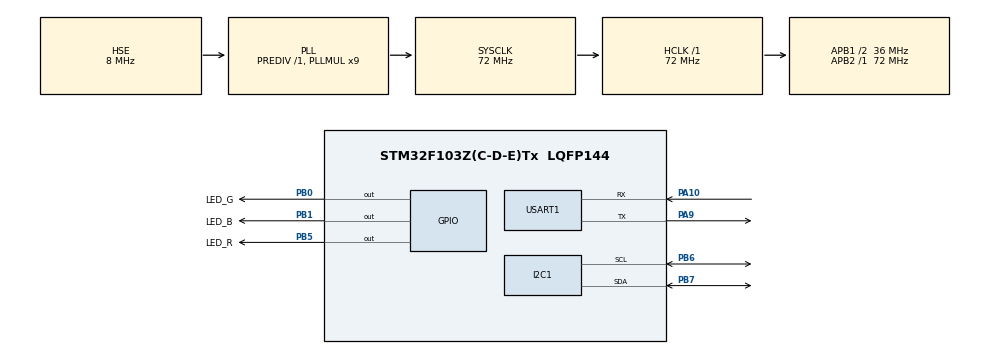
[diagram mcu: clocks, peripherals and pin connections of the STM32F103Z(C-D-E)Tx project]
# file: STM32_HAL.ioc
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I2C1.I2C_Mode=I2C_Fast
Mcu.Family=STM32F1
Mcu.Name=STM32F103Z(C-D-E)Tx
Mcu.Package=LQFP144
NVIC.PriorityGroup=NVIC_PRIORITYGROUP_4
NVIC.USART1_IRQn=true\:0\:0\:false\:false\:true\:true\:true\:true
OSC_IN.Mode=HSE-External-Oscillator
OSC_IN.Signal=RCC_OSC_IN
OSC_OUT.Mode=HSE-External-Oscillator
OSC_OUT.Signal=RCC_OSC_OUT
PA10.Mode=Asynchronous
PA10.Signal=USART1_RX
PA13.Mode=JTAG_5_pins
PA13.Signal=SYS_JTMS-SWDIO
PA14.Mode=JTAG_5_pins
PA14.Signal=SYS_JTCK-SWCLK
PA15.Mode=JTAG_5_pins
PA15.Signal=SYS_JTDI
PA9.Mode=Asynchronous
PA9.Signal=USART1_TX
PB0.GPIO_Label=LED_G
PB0.GPIO_Speed=GPIO_SPEED_FREQ_HIGH
PB0.PinState=GPIO_PIN_SET
PB0.Signal=GPIO_Output
PB1.GPIO_Label=LED_B
PB1.GPIO_Speed=GPIO_SPEED_FREQ_HIGH
PB1.PinState=GPIO_PIN_SET
PB1.Signal=GPIO_Output
PB3.Mode=JTAG_5_pins
PB3.Signal=SYS_JTDO-TRACESWO
PB4.Mode=JTAG_5_pins
PB4.Signal=SYS_NJTRST
PB5.GPIO_Label=LED_R
PB5.GPIO_Speed=GPIO_SPEED_FREQ_HIGH
PB5.PinState=GPIO_PIN_SET
PB5.Signal=GPIO_Output
PB6.Mode=I2C
PB6.Signal=I2C1_SCL
PB7.Mode=I2C
PB7.Signal=I2C1_SDA
PC14-OSC32_IN.Mode=LSE-External-Oscillator
PC14-OSC32_IN.Signal=RCC_OSC32_IN
PC15-OSC32_OUT.Mode=LSE-External-Oscillator
PC15-OSC32_OUT.Signal=RCC_OSC32_OUT
ProjectManager.HeapSize=0x200
ProjectManager.StackSize=0x400
ProjectManager.TargetToolchain=CMake
RCC.AHBFreq_Value=72000000
RCC.APB1CLKDivider=RCC_HCLK_DIV2
RCC.APB1Freq_Value=36000000
RCC.APB1TimFreq_Value=72000000
RCC.APB2Freq_Value=72000000
RCC.APB2TimFreq_Value=72000000
RCC.HCLKFreq_Value=72000000
RCC.PLLMUL=RCC_PLL_MUL9
RCC.PLLSourceVirtual=RCC_PLLSOURCE_HSE
RCC.SYSCLKFreq_VALUE=72000000
RCC.SYSCLKSource=RCC_SYSCLKSOURCE_PLLCLK
RCC.USBFreq_Value=72000000
TIM6.Prescaler=72-1
USART1.VirtualMode=VM_ASYNC
VP_TIM6_VS_ClockSourceINT.Mode=Enable_Timer
board=custom

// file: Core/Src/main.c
/* USER CODE BEGIN Header */
/**
  ******************************************************************************
  * @file           : main.c
  * @brief          : Main program body
  ******************************************************************************
  * @attention
  *
  * Copyright (c) 2024 STMicroelectronics.
  * All rights reserved.
  *
  * This software is licensed under terms that can be found in the LICENSE file
  * in the root directory of this software component.
  * If no LICENSE file comes with this software, it is provided AS-IS.
  *
  ******************************************************************************
  */
/* USER CODE END Header */
#include "main.h"
#include "i2c.h"
#include "tim.h"
#include "usart.h"
#include "gpio.h"

/* USER CODE BEGIN Includes */

#include <stdio.h>
#include "oled.h"
#include "dht11.h"

/* USER CODE END Includes */

/* USER CODE BEGIN PM */

// R: PB5, G: PB0, B: PB1
#define LED_R 0xFFFFFFDF
#define LED_G 0xFFFFFFFE
#define LED_B 0xFFFFFFFD

/* USER CODE END PM */

/* USER CODE BEGIN PV */
extern UART_HandleTypeDef huart1;
uint32_t ledColorArray[] = {LED_R, LED_G, LED_B};

/* USER CODE END PV */

void SystemClock_Config(void);

int main(void)
{

  /* MCU Configuration--------------------------------------------------------*/

  /* Reset of all peripherals, Initializes the Flash interface and the Systick. */
  HAL_Init();

  /* Configure the system clock */
  SystemClock_Config();

  /* Initialize all configured peripherals */
  MX_GPIO_Init();
  MX_I2C1_Init();
  MX_USART1_UART_Init();
  MX_TIM6_Init();
  /* USER CODE BEGIN 2 */

  // start TIM6 for i2c delay
  HAL_TIM_Base_Start(&htim6);

  // 0x78: OLED i2c address
  OLED_ConfigDisplay(&hi2c1, 0x78);

  if (OLED_InitDisplay() < 0) {
    printf("init OLED screen failed!\r\n");
  } else {
    printf("OLED ok!\r\n");
  }
  /* USER CODE END 2 */

  /* Infinite loop */
  /* USER CODE BEGIN WHILE */
  __HAL_RCC_GPIOB_CLK_ENABLE();
  // OLED_Test();
  OLED_NewFrame();
  OLED_ShowString(0, 0, "DHT11:");
  OLED_ShowFrame();

  DHT11_Init();

  double temperature = 0, humidity = 0;
  if (DHT11_Measure(&temperature, &humidity) < 0) {
    printf("dht11 measure FAILED!\r\n");
  } else {
    printf("temp: [%.2f], humi: [%.2f]\r\n", temperature, humidity);
  }

  while (1)
  {
    /* USER CODE END WHILE */

    /* USER CODE BEGIN 3 */
    GPIOB->ODR = LED_R;
    HAL_Delay(500);
    GPIOB->ODR = LED_G;
    HAL_Delay(500);
    GPIOB->ODR = LED_B;
  }
  /* USER CODE END 3 */
}

void SystemClock_Config(void)
{
  RCC_OscInitTypeDef RCC_OscInitStruct = {0};
  RCC_ClkInitTypeDef RCC_ClkInitStruct = {0};

  /** Initializes the RCC Oscillators according to the specified parameters
  * in the RCC_OscInitTypeDef structure.
  */
  RCC_OscInitStruct.OscillatorType = RCC_OSCILLATORTYPE_HSE;
  RCC_OscInitStruct.HSEState = RCC_HSE_ON;
  RCC_OscInitStruct.HSEPredivValue = RCC_HSE_PREDIV_DIV1;
  RCC_OscInitStruct.HSIState = RCC_HSI_ON;
  RCC_OscInitStruct.PLL.PLLState = RCC_PLL_ON;
  RCC_OscInitStruct.PLL.PLLSource = RCC_PLLSOURCE_HSE;
  RCC_OscInitStruct.PLL.PLLMUL = RCC_PLL_MUL9;
  if (HAL_RCC_OscConfig(&RCC_OscInitStruct) != HAL_OK)
  {
    Error_Handler();
  }

  /** Initializes the CPU, AHB and APB buses clocks
  */
  RCC_ClkInitStruct.ClockType = RCC_CLOCKTYPE_HCLK|RCC_CLOCKTYPE_SYSCLK
                              |RCC_CLOCKTYPE_PCLK1|RCC_CLOCKTYPE_PCLK2;
  RCC_ClkInitStruct.SYSCLKSource = RCC_SYSCLKSOURCE_PLLCLK;
  RCC_ClkInitStruct.AHBCLKDivider = RCC_SYSCLK_DIV1;
  RCC_ClkInitStruct.APB1CLKDivider = RCC_HCLK_DIV2;
  RCC_ClkInitStruct.APB2CLKDivider = RCC_HCLK_DIV1;

  if (HAL_RCC_ClockConfig(&RCC_ClkInitStruct, FLASH_LATENCY_2) != HAL_OK)
  {
    Error_Handler();
  }
}

/* USER CODE BEGIN 4 */
int __io_putchar(int ch)
{
    HAL_UART_Transmit(&huart1, (uint8_t *)&ch, 1, HAL_MAX_DELAY);
    return 0;
}
/* USER CODE END 4 */

void Error_Handler(void)
{
  __disable_irq();
  while (1)
  {
  }
}
